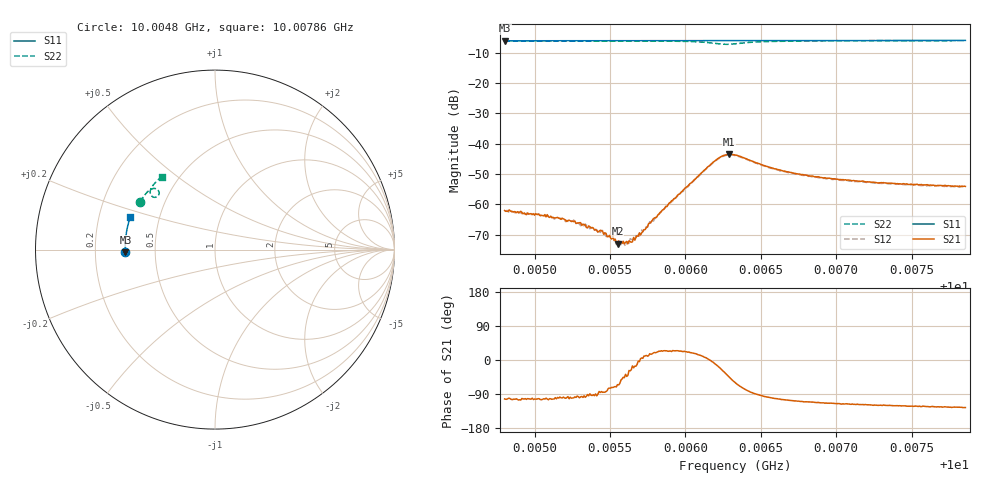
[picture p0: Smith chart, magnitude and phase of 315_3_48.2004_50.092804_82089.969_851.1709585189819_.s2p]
#  HZ  S  RI  R  50.00
! Rohde & Schwarz Vector Network Analyzer
! Rohde-Schwarz,ZNB20-2Port,1311601062101988,3.16
! Created: UTC 3/20/2024, 11:50:09 AM
! freq[Hz]  re:S11  im:S11  re:S21  im:S21  re:S12  im:S12  re:S22  im:S22
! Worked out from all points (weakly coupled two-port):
!   401 points, 10.0048 GHz to 10.00786 GHz, reference 50 ohm
!   highest |S21| = -43.49 dB at 10.00629 GHz (marker M1); lowest = -73.0 dB at 10.00555 GHz (marker M2)
!   lowest |S11| = -6.0 dB at 10.0048 GHz (marker M3), VSWR 2.99, Z = 16.7 - j0.672 ohm
!   |S11| at or under -10 dB: nowhere
!   |S22| runs from -7.2 to -6.0 dB; largest |S21 - S12| = 0.00038
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1.00048e10  -0.499 -0.0151  -0.000176 -0.000771  -0.00013 -0.000762  -0.4161 0.2662
1.0005175e10  -0.4999 0.00933  -9.54e-05 -0.000558  -9.54e-05 -0.000578  -0.4024 0.2883
1.0005213e10  -0.4999 0.0117  -8.48e-05 -0.000516  -6.57e-05 -0.000539  -0.4009 0.2906
1.0005259e10  -0.5001 0.0147  -8.9e-05 -0.000509  -7.31e-05 -0.000545  -0.3991 0.2933
1.0005312e10  -0.4999 0.0182  -4.86e-05 -0.000447  -4.26e-05 -0.000459  -0.3967 0.2965
1.0005343e10  -0.5 0.0201  -4.03e-05 -0.000412  -1.65e-05 -0.000451  -0.3956 0.2983
1.0005442e10  -0.4997 0.0266  4.32e-05 -0.000366  3.82e-05 -0.000359  -0.391 0.3044
1.0005549e10  -0.4996 0.0336  9.44e-05 -0.000203  0.000106 -0.000212  -0.3859 0.311
1.000561e10  -0.4993 0.0375  0.000178 -0.000167  0.000166 -0.000148  -0.3826 0.3148
1.0005649e10  -0.4994 0.04  0.000232 -6.43e-05  0.000246 -8.86e-05  -0.3806 0.3172
1.0005702e10  -0.4991 0.0434  0.000313 1.92e-05  0.000316 8.43e-06  -0.3773 0.3206
1.0005824e10  -0.4984 0.0513  0.000636 0.000276  0.000637 0.000262  -0.369 0.3284
1.0005908e10  -0.4982 0.0569  0.00106 0.000438  0.000988 0.000501  -0.3617 0.3338
1.0006191e10  -0.4959 0.0748  0.00505 -0.000757  0.00499 -0.000474  -0.3144 0.3268
1.0006237e10  -0.4955 0.0777  0.00557 -0.00252  0.00557 -0.0022  -0.3117 0.3112
1.0006291e10  -0.4949 0.0809  0.00471 -0.00476  0.00482 -0.00442  -0.3229 0.2947
1.0006329e10  -0.4948 0.0831  0.00334 -0.00561  0.00352 -0.00535  -0.3361 0.2912
1.0006581e10  -0.4929 0.0994  -0.000749 -0.00387  -0.000568 -0.00382  -0.3601 0.329
1.0006841e10  -0.4898 0.116  -0.00106 -0.00275  -0.000938 -0.00268  -0.3489 0.3528
1.0007047e10  -0.487 0.1289  -0.00111 -0.0023  -0.001 -0.00227  -0.3388 0.3661
1.0007353e10  -0.4821 0.1482  -0.0011 -0.00194  -0.00099 -0.00195  -0.3236 0.3826
1.0007858e10  -0.4727 0.1791  -0.00114 -0.00161  -0.00106 -0.00161  -0.298 0.4059
